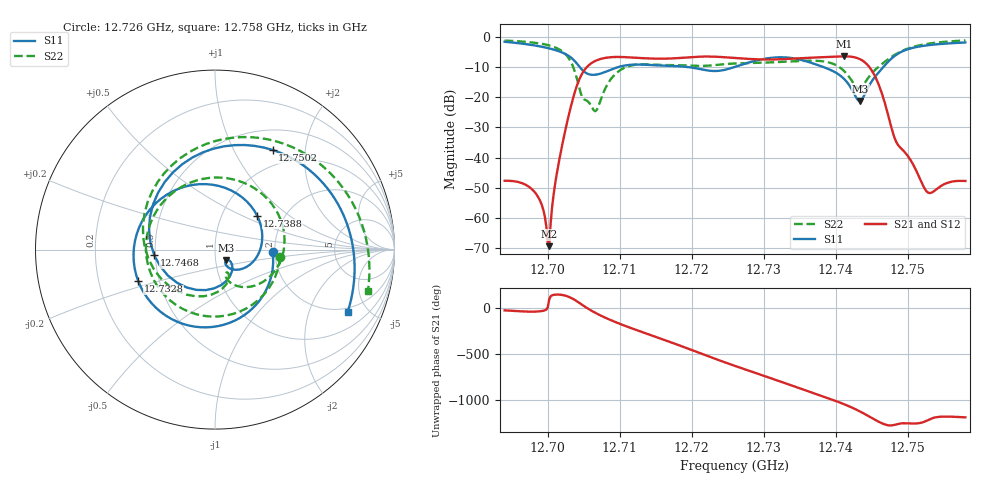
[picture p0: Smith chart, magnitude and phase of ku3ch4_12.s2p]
#  HZ  S  RI  R  50.00
! Rohde & Schwarz ZVA50 2Ports - Version 3.70 - 1145.1110k50 SN: 100192
! Date: 2025-10-24 10:52:42
! Measurements: S11 S21 S12 S22
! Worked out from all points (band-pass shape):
!   321 points, 12.694 GHz to 12.758 GHz, reference 50 ohm
!   highest |S21| = -6.35 dB at 12.7412 GHz (marker M1); lowest = -69.4 dB at 12.7002 GHz (marker M2)
!   |S21| within 3 dB of the highest: 12.70567 GHz to 12.74446 GHz (38.79 MHz wide, 0.305 % of centre)
!   lowest |S11| = -21.2 dB at 12.7434 GHz (marker M3), VSWR 1.19, Z = 56.3 - j6.78 ohm
!   |S11| at or under -10 dB: 12.70447 GHz to 12.70968 GHz (5.209 MHz wide, 0.041 % of centre); 12.71971 GHz to 12.72582 GHz (6.112 MHz wide, 0.048 % of centre); 12.73836 GHz to 12.74657 GHz (8.209 MHz wide, 0.0644 % of centre)
!   |S22| runs from -24.6 to -1.1 dB; largest |S21 - S12| = 0.0086
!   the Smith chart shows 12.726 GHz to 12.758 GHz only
!   S11 on the Smith chart (normalised r, x): 12.726 GHz: 1.94, -0.07; 12.7328 GHz: 0.38, -0.17; 12.7388 GHz: 1.46, +0.61; 12.7468 GHz: 0.49, -0.03; 12.7502 GHz: 0.77, +1.44; 12.758 GHz: 1.74, -3.66
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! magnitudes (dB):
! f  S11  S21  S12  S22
! 12.694 GHz  -1.5  -47.7  -47.6  -1.1
! 12.6984 GHz  -2.8  -52.1  -52.0  -1.9
! 12.6994 GHz  -3.3  -57.6  -57.5  -2.3
! 12.7002 GHz  -3.7  -69.4  -69.1  -2.7
! 12.7006 GHz  -4.0  -56.4  -56.2  -3.0
! 12.7016 GHz  -4.7  -40.7  -40.5  -4.1
! 12.7032 GHz  -6.7  -23.1  -23.0  -8.2
! 12.7048 GHz  -10.9  -12.0  -11.9  -20.0
! 12.7066 GHz  -12.5  -7.9  -7.8  -24.6
! 12.7098 GHz  -9.9  -6.6  -6.5  -11.4
! 12.7154 GHz  -9.4  -7.1  -7.0  -9.2
! 12.726 GHz  -9.9  -6.9  -6.8  -8.7
! 12.7328 GHz  -6.7  -7.3  -7.2  -8.2
! 12.7368 GHz  -8.7  -6.8  -6.7  -7.8
! 12.7388 GHz  -10.4  -6.6  -6.5  -8.3
! 12.7412 GHz  -14.0  -6.4  -6.3  -11.3
! 12.7434 GHz  -21.2  -7.3  -7.3  -16.8
! 12.7468 GHz  -9.4  -21.8  -21.7  -8.2
! 12.7474 GHz  -7.8  -27.1  -27.0  -7.1
! 12.7502 GHz  -3.9  -40.1  -40.0  -3.6
! 12.7528 GHz  -2.7  -51.6  -51.5  -2.2
! 12.758 GHz  -1.8  -47.8  -47.7  -1.1
